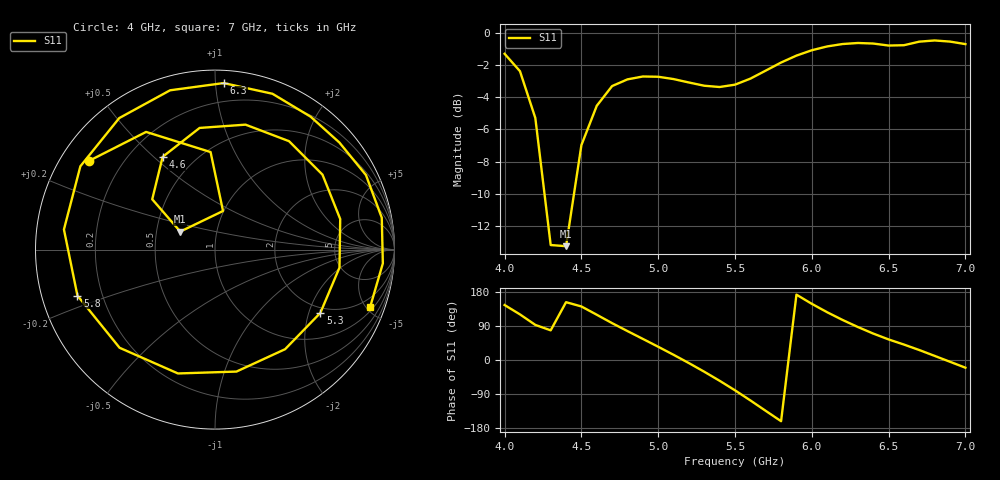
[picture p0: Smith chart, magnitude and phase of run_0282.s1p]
! Touchstone file exported from HFSS 2024.2.0
!  File:  C:/Users/wsak9/Desktop/Sim Fast/Widenad Patch/WP_AI_V1_sweep.aedt
!  Generated:  02:54:16 AM Oct 14, 2026
!  Design:  A1_model
!  Project:  WP_AI_V1_sweep
!  Setup:  Setup1
!  Solution:  Sweep
! Variables:
!  Air_gap = 3.61mm
!  Curve_Amp1 = 2.46
!  Curve_len1 = 1
!  Curve_pos = 12.76mm
!  Extra = 5.62mm
!  H_sub = 0.79mm
!  L_Patch = 21.52mm
!  L_Patch1 = 16.59mm
!  Sx = 3.86mm
!  Sy = 2.03mm
!  WS = 1.34mm
!  W_Patch = 20.91mm
!  W_Patch1 = 10.97mm
!Data is not renormalized
# GHz S MA
! Terminal data exported
! Port[1] = 1
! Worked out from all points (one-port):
!   31 points, 4 GHz to 7 GHz, reference per port
!   lowest |S11| = -13.2 dB at 4.4 GHz (marker M1), VSWR 1.56
!   |S11| at or under -10 dB: 4.26 GHz to 4.452 GHz (191.8 MHz wide, 4.4 % of centre)
!   S11 on the Smith chart (normalised r, x): 4 GHz: 0.08, +0.31; 4.6 GHz: 0.33, +0.53; 5.3 GHz: 1.80, -2.39; 5.8 GHz: 0.11, -0.16; 6.3 GHz: 0.08, +1.05; 7 GHz: 1.25, -5.30
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4  0.86 145.0
4.1  0.7597 120.3
4.2  0.544 92.6
4.3  0.2197 78.3
4.4  0.2179 152.6
4.5  0.4482 141.3
4.6  0.5935 119.4
4.7  0.6833 97.2
4.8  0.7166 76.3
4.9  0.7315 55.7
5  0.7301 34.9
5.1  0.7181 13.7
5.2  0.7008 -8.2
5.3  0.6848 -31.0
5.4  0.6786 -54.9
5.5  0.69 -80.0
5.6  0.7203 -106.7
5.7  0.7628 -134.2
5.8  0.8081 -161.5
5.9  0.8491 172.4
6  0.8821 148.2
6.1  0.9065 126.1
6.2  0.9222 105.7
6.3  0.929 87.0
6.5  0.9122 54.3
6.7  0.938 26.3
6.8  0.946 10.8
7  0.9216 -20.3
